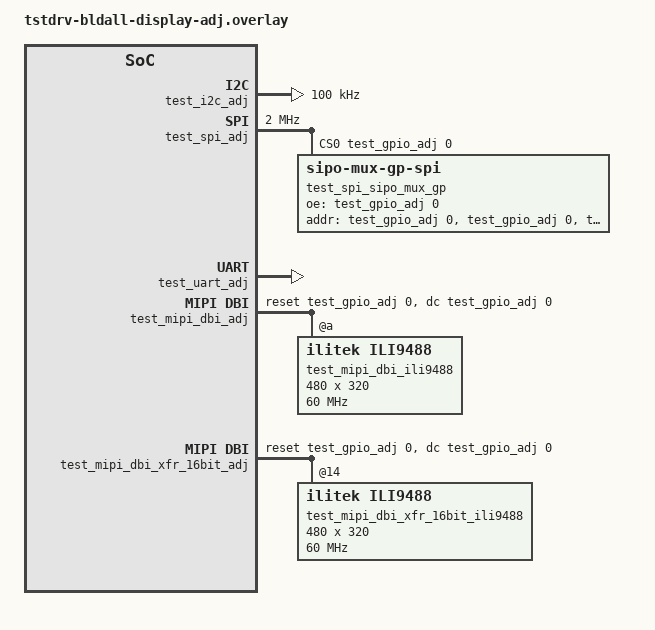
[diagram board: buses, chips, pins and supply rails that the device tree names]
/*
 * Copyright (c) 2024 TiaC Systems
 *
 * SPDX-License-Identifier: Apache-2.0
 *
 * Snipped overlay for testing driver builds
 *
 * Names in this file should be chosen in a way that won't conflict
 * with real-world devicetree nodes, to allow these tests to run on
 * (and be extended to test) real hardware.
 */

#include <zephyr/dt-bindings/mipi_dbi/mipi_dbi.h>

/ {
	test: test {};
};

&test {
	test_gpio_adj: gpio@feedface {
		compatible = "vnd,gpio";
		status = "okay";
		reg = <0xfeedface 0x1000>;
		gpio-controller;
		#gpio-cells = <0x2>;
	};

	test_i2c_adj: i2c@aaaabbbb {
		compatible = "vnd,i2c";
		status = "okay";
		reg = <0xaaaabbbb 0x1000>;
		#address-cells = <1>;
		#size-cells = <0>;
		clock-frequency = <100000>;
	};

	test_spi_adj: spi@ccccdddd {
		compatible = "vnd,spi";
		status = "okay";
		reg = <0xccccdddd 0x1000>;
		#address-cells = <1>;
		#size-cells = <0>;
		clock-frequency = <2000000>;

		/* one entry for every devices */
		/* Note that this must include MIPI DBI devices as well. */
		cs-gpios = <&test_gpio_adj 0 0>,
			   <&test_gpio_adj 0 0>,
			   <&test_gpio_adj 0 0>,
			   <&test_gpio_adj 0 0>,
			   <&test_gpio_adj 0 0>,
			   <&test_gpio_adj 0 0>,
			   <&test_gpio_adj 0 0>,
			   <&test_gpio_adj 0 0>,
			   <&test_gpio_adj 0 0>,
			   <&test_gpio_adj 0 0>,
			   <&test_gpio_adj 0 0>, /* 10 */
			   <&test_gpio_adj 0 0>,
			   <&test_gpio_adj 0 0>,
			   <&test_gpio_adj 0 0>,
			   <&test_gpio_adj 0 0>,
			   <&test_gpio_adj 0 0>,
			   <&test_gpio_adj 0 0>,
			   <&test_gpio_adj 0 0>,
			   <&test_gpio_adj 0 0>,
			   <&test_gpio_adj 0 0>,
			   <&test_gpio_adj 0 0>, /* 20 */
			   <&test_gpio_adj 0 0>,
			   <&test_gpio_adj 0 0>,
			   <&test_gpio_adj 0 0>,
			   <&test_gpio_adj 0 0>,
			   <&test_gpio_adj 0 0>,
			   <&test_gpio_adj 0 0>,
			   <&test_gpio_adj 0 0>,
			   <&test_gpio_adj 0 0>,
			   <&test_gpio_adj 0 0>,
			   <&test_gpio_adj 0 0>, /* 30 */
			   <&test_gpio_adj 0 0>;

		test_spi_sipo_mux_gp: sipo-mux-gp@0 {
			compatible = "sipo-mux-gp-spi";
			status = "okay";
			reg = <0x0>;
			spi-max-frequency = <0>;
			refresh-time-us = <500>;
			#address-cells = <1>;
			#size-cells = <0>;
			shift-width = <32>;
			data-width = <24>;
			oe-gpios = <&test_gpio_adj 0 0>;
			addr-gpios = <&test_gpio_adj 0 0>,
				     <&test_gpio_adj 0 0>,
				     <&test_gpio_adj 0 0>;

			test_spi_sipo_mux_gpio_0: sipo-mux-gpio@0 {
				compatible = "sipo-mux-gpio";
				status = "okay";
				reg = <0>;
				gpio-controller;
				#gpio-cells = <2>;
				ngpios = <24>;
				offset = <0>;
			};

			test_spi_sipo_mux_gpio_1: sipo-mux-gpio@1 {
				compatible = "sipo-mux-gpio";
				status = "okay";
				reg = <1>;
				gpio-controller;
				#gpio-cells = <2>;
				ngpios = <24>;
				offset = <24>;
			};

			test_spi_sipo_mux_gpio_2: sipo-mux-gpio@2 {
				compatible = "sipo-mux-gpio";
				status = "okay";
				reg = <2>;
				gpio-controller;
				#gpio-cells = <2>;
				ngpios = <24>;
				offset = <48>;
			};

			test_spi_sipo_mux_gpio_3: sipo-mux-gpio@3 {
				compatible = "sipo-mux-gpio";
				status = "okay";
				reg = <3>;
				gpio-controller;
				#gpio-cells = <2>;
				ngpios = <24>;
				offset = <72>;
			};

			test_spi_sipo_mux_gpio_4: sipo-mux-gpio@4 {
				compatible = "sipo-mux-gpio";
				status = "okay";
				reg = <4>;
				gpio-controller;
				#gpio-cells = <2>;
				ngpios = <24>;
				offset = <96>;
			};

			test_spi_sipo_mux_gpio_5: sipo-mux-gpio@5 {
				compatible = "sipo-mux-gpio";
				status = "okay";
				reg = <5>;
				gpio-controller;
				#gpio-cells = <2>;
				ngpios = <24>;
				offset = <120>;
			};

			test_spi_sipo_mux_gpio_6: sipo-mux-gpio@6 {
				compatible = "sipo-mux-gpio";
				status = "okay";
				reg = <6>;
				gpio-controller;
				#gpio-cells = <2>;
				ngpios = <24>;
				offset = <144>;
			};

			test_spi_sipo_mux_gpio_7: sipo-mux-gpio@7 {
				compatible = "sipo-mux-gpio";
				status = "okay";
				reg = <7>;
				gpio-controller;
				#gpio-cells = <2>;
				ngpios = <24>;
				offset = <168>;
			};

			test_spi_sipo_mux_display_8: sipo-mux-display@8 {
				compatible = "sipo-mux-display";
				status = "okay";
				reg = <8>;
				height = <7>;
				width = <22>;
				offset = <2 1>;
			};
		};
	};

	test_uart_adj: uart@eeeeffff {
		compatible = "vnd,serial";
		status = "okay";
		reg = <0xeeeeffff 0x1000>;
	};

	test_mipi_dbi_adj {
		compatible = "zephyr,mipi-dbi-spi";
		status = "okay";
		#address-cells = <1>;
		#size-cells = <0>;
		reset-gpios = <&test_gpio_adj 0 0>;
		dc-gpios = <&test_gpio_adj 0 0>;
		spi-dev = <&test_spi_adj>;

		test_mipi_dbi_ili9488: ili9342c@10 {
			compatible = "ilitek,ili9488";
			status = "okay";
			reg = <10>;
			mipi-max-frequency = <60000000>;
			pixel-format = <0>;
			rotation = <270>;
			width = <480>;
			height = <320>;
		};
	};

	test_mipi_dbi_xfr_16bit_adj {
		compatible = "zephyr,mipi-dbi-spi";
		status = "okay";
		xfr-min-bits = <MIPI_DBI_SPI_XFR_16BIT>;
		#address-cells = <1>;
		#size-cells = <0>;
		reset-gpios = <&test_gpio_adj 0 0>;
		dc-gpios = <&test_gpio_adj 0 0>;
		spi-dev = <&test_spi_adj>;

		test_mipi_dbi_xfr_16bit_ili9488: ili9342c@20 {
			compatible = "ilitek,ili9488";
			status = "okay";
			reg = <20>;
			mipi-max-frequency = <60000000>;
			pixel-format = <0>;
			rotation = <270>;
			width = <480>;
			height = <320>;
		};
	};
};

/* disable device to avoid conflict with ili93xx version */
&test_mipi_dbi_ili9342c {
	status = "disabled";
};
